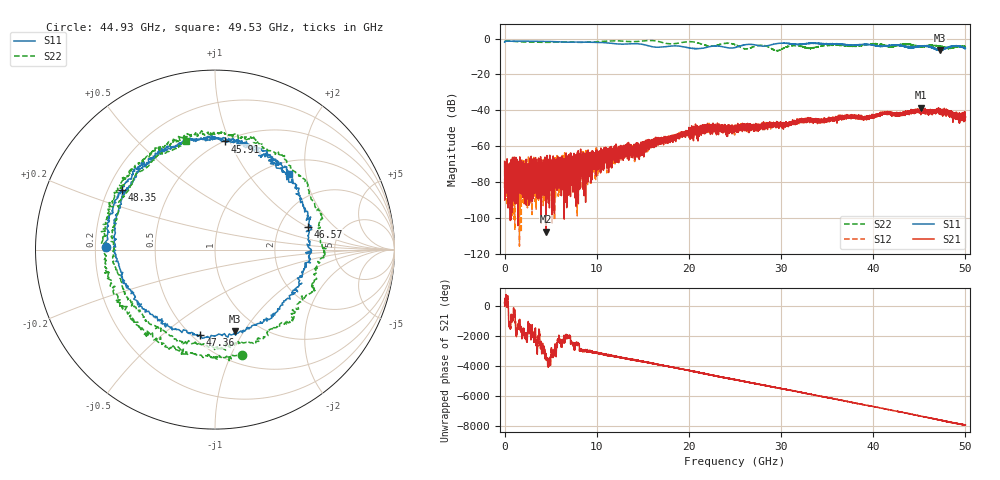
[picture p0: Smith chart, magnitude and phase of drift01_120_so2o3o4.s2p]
!Created with skrf (http://scikit-rf.org).
# Hz S RI R 50.0
!freq ReS11 ImS11 ReS21 ImS21 ReS12 ImS12 ReS22 ImS22
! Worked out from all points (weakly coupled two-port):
!   10001 points, 300 kHz to 50 GHz, reference 50 ohm
!   highest |S21| = -38.40 dB at 45.14 GHz (marker M1); lowest = -107.6 dB at 4.48 GHz (marker M2)
!   lowest |S11| = -6.6 dB at 47.21 GHz (marker M3), VSWR 2.77, Z = 39.3 - j45.8 ohm
!   |S11| at or under -10 dB: nowhere
!   |S22| runs from -6.8 to -1.0 dB; largest |S21 - S12| = 0.0039
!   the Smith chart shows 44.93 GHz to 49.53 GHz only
!   S11 on the Smith chart (normalised r, x): 44.93 GHz: 0.24, +0.01; 45.91 GHz: 0.51, +0.96; 46.57 GHz: 2.89, +1.03; 47.36 GHz: 0.55, -0.68; 48.35 GHz: 0.26, +0.27; 49.53 GHz: 1.24, +1.62
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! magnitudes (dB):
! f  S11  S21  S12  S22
! 300 kHz  -2.0  -68.4  -80.2  -1.3
! 275.3 MHz  -1.4  -79.2  -80.8  -1.4
! 4.48 GHz  -1.6  -107.6  -71.5  -2.1
! 7.615 GHz  -1.9  -70.3  -75.7  -2.0
! 8.335 GHz  -1.9  -68.7  -71.2  -2.1
! 16.67 GHz  -4.8  -55.1  -56.1  -1.6
! 22.1 GHz  -4.6  -50.2  -49.6  -4.1
! 25 GHz  -5.0  -49.8  -50.0  -3.4
! 28.13 GHz  -4.2  -48.8  -49.3  -3.8
! 29.53 GHz  -2.8  -48.1  -48.2  -6.7
! 31.27 GHz  -3.0  -46.8  -47.2  -4.0
! 33.34 GHz  -2.6  -45.1  -44.8  -5.5
! 41.67 GHz  -3.9  -41.3  -41.5  -4.5
! 44.93 GHz  -4.3  -41.2  -40.6  -4.4
! 45.14 GHz  -4.2  -38.4  -40.6  -4.4
! 45.91 GHz  -4.4  -41.7  -41.3  -4.0
! 46.57 GHz  -5.4  -41.5  -40.9  -3.9
! 47.21 GHz  -6.6  -40.3  -40.0  -4.4
! 47.36 GHz  -6.3  -39.7  -40.6  -4.5
! 48.35 GHz  -4.2  -42.3  -41.4  -5.4
! 49.53 GHz  -4.6  -42.9  -43.0  -4.1
! 50 GHz  -5.4  -43.7  -43.3  -4.2
